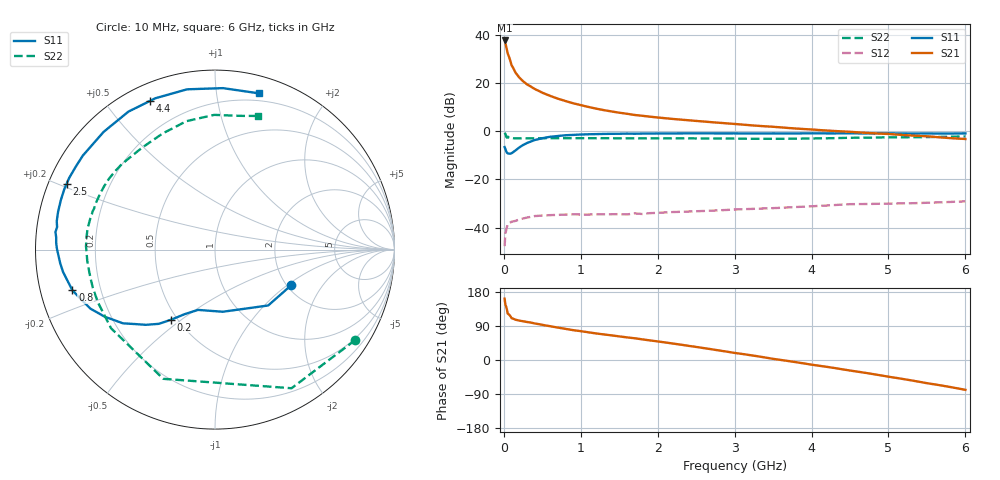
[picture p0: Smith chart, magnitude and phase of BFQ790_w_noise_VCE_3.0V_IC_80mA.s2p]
! (c) 2015  Infineon Technologies AG, Munich
! Infineon Technologies  Discrete & RF Semiconductors
! BFQ790
! VCE =  3.0 V,  IC =  80 mA
! Common Emitter S-Parameters:  May 2015
# GHz  S  MA  R  50
!  f  S11  S21  S12  S22
! GHz  MAG  ANG  MAG  ANG  MAG  ANG  MAG  ANG
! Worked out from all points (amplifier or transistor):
!   77 points, 10 MHz to 6 GHz, reference 50 ohm
!   highest |S21| = 37.7 dB at 10 MHz (marker M1)
!   |S21| within 3 dB of that: start of sweep to 33.72 MHz
!   unconditionally stable (mu >= 1): 1.271 GHz to end of sweep
!   at 130 MHz: K = 0.70, MSG = 31.6 dB, |S12| = -37.4 dB
!   at 2.2 GHz: K = 1.18, MAG = 16.7 dB, |S12| = -33.6 dB
!   at 6 GHz: K = 1.34, MAG = 9.5 dB, |S12| = -29.1 dB
!   lowest NFmin = 2.44 dB at 1.5 GHz
!   S11 on the Smith chart (normalised r, x): 10 MHz: 2.11, -1.07; 200 MHz: 0.46, -0.46; 800 MHz: 0.10, -0.14; 2.5 GHz: 0.05, +0.21; 4.4 GHz: 0.07, +0.65; 6 GHz: 0.14, +1.31
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0.01  0.4692 -24.9  77.05 161.7  0.0041 65.9  0.9302 -32.8
0.02  0.4299 -46.4  67.62 146.4  0.0075 58.8  0.8823 -61.1
0.05  0.349 -82.8  41.54 122.6  0.0119 33.3  0.7754 -111.8
0.1  0.3492 -105.8  23.66 110.4  0.0132 21.0  0.7263 -142.9
0.15  0.3983 -115.3  16.69 106.4  0.0137 20.5  0.7155 -155.7
0.2  0.4602 -122.0  13.12 104.0  0.0147 19.4  0.7131 -162.5
0.25  0.5186 -127.1  10.97 102.2  0.0154 15.8  0.7115 -167.0
0.3  0.5693 -132.6  9.455 100.4  0.0161 14.7  0.7116 -170.3
0.4  0.657 -141.3  7.577 96.5  0.0173 13.4  0.7145 -175.1
0.5  0.7179 -148.5  6.328 92.8  0.0178 11.2  0.7155 -178.6
0.6  0.7678 -154.6  5.452 89.2  0.0181 9.4  0.7188 178.7
0.7  0.7966 -159.7  4.764 85.6  0.0183 7.9  0.7189 176.4
0.8  0.8265 -164.1  4.258 82.2  0.0186 5.1  0.7195 174.5
1.1  0.8662 -175.1  3.198 73.1  0.0186 2.9  0.7184 169.4
1.5  0.8874 175.6  2.433 62.3  0.019 1.3  0.7137 163.9
2.1  0.9001 164.3  1.865 46.3  0.0206 -1.7  0.7116 155.4
2.5  0.9043 156.0  1.64 34.5  0.0218 -4.6  0.7105 148.2
3.1  0.9008 142.3  1.376 15.9  0.024 -11.1  0.701 135.1
4.1  0.9048 120.0  1.061 -15.2  0.0282 -21.9  0.712 111.8
4.4  0.9041 113.6  0.993 -24.5  0.03 -26.3  0.726 104.8
5.1  0.9018 97.4  0.856 -47.2  0.0316 -38.3  0.75 88.2
6  0.9042 74.4  0.691 -78.8  0.035 -56.3  0.7818 72.2
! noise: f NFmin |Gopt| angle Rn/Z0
0.45  3.61  0.36  127  0.38
0.9  2.62  0.51  162  0.14
1.5  2.44  0.64  -176  0.07
1.8  2.6  0.66  -171  0.08
2.6  3.1  0.71  -153  0.19
3.5  3.8  0.82  -137  0.47
